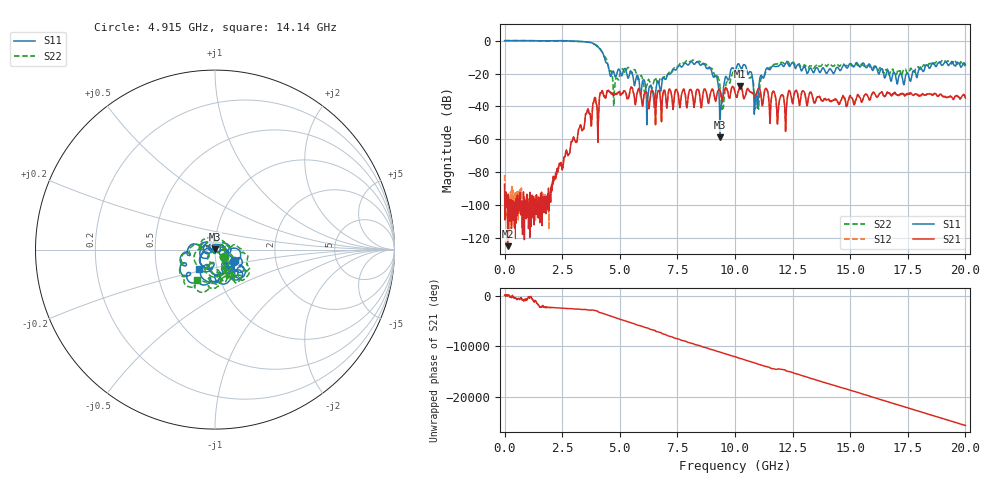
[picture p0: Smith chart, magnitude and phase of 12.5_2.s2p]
#  HZ  S  RI  R  50.00
! Rohde & Schwarz Vector Network Analyzer
! Rohde-Schwarz,ZNB20-2Port,1311601062102128,3.60
! Created: UTC 4/29/2024, 2:56:40 PM
! freq[Hz]  re:S11  im:S11  re:S21  im:S21  re:S12  im:S12  re:S22  im:S22
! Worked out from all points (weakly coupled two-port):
!   2007 points, 100 kHz to 20 GHz, reference 50 ohm
!   highest |S21| = -27.62 dB at 10.23 GHz (marker M1); lowest = -124.9 dB at 129.7 MHz (marker M2)
!   lowest |S11| = -58.8 dB at 9.342 GHz (marker M3), VSWR 1.00, Z = 50.1 + j0.097 ohm
!   |S11| at or under -10 dB: 4.326 GHz to end of sweep
!   |S22| runs from -41.8 to 0.1 dB; largest |S21 - S12| = 0.0023
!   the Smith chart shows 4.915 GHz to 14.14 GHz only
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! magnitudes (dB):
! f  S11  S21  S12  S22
! 100 kHz  0.0  -87.4  -81.8  0.1
! 129.7 MHz  0.0  -124.9  -108.0  0.0
! 2.223 GHz  -0.1  -82.9  -83.9  -0.3
! 3.34 GHz  -0.6  -54.0  -53.6  -0.6
! 4.158 GHz  -5.5  -31.9  -31.5  -5.2
! 4.776 GHz  -20.7  -32.4  -32.5  -28.8
! 5.354 GHz  -22.8  -35.2  -35.1  -16.3
! 6.211 GHz  -35.1  -35.9  -36.0  -24.9
! 6.67 GHz  -24.8  -30.3  -30.4  -26.5
! 8.375 GHz  -12.8  -29.5  -29.5  -12.9
! 9.173 GHz  -21.2  -36.4  -36.3  -22.5
! 9.342 GHz  -58.8  -30.1  -30.1  -26.8
! 9.482 GHz  -32.1  -34.1  -34.1  -40.7
! 10 GHz  -18.7  -31.5  -31.4  -19.5
! 10.23 GHz  -16.0  -27.6  -27.6  -16.9
! 10.69 GHz  -19.0  -31.4  -31.4  -22.1
! 10.91 GHz  -33.4  -32.6  -32.7  -36.4
! 11.42 GHz  -16.7  -30.9  -30.9  -16.9
! 11.86 GHz  -15.7  -45.8  -45.8  -14.1
! 13.34 GHz  -18.0  -32.7  -32.7  -15.3
! 16.67 GHz  -19.1  -31.7  -31.8  -20.5
! 20 GHz  -14.6  -34.8  -34.9  -14.4
